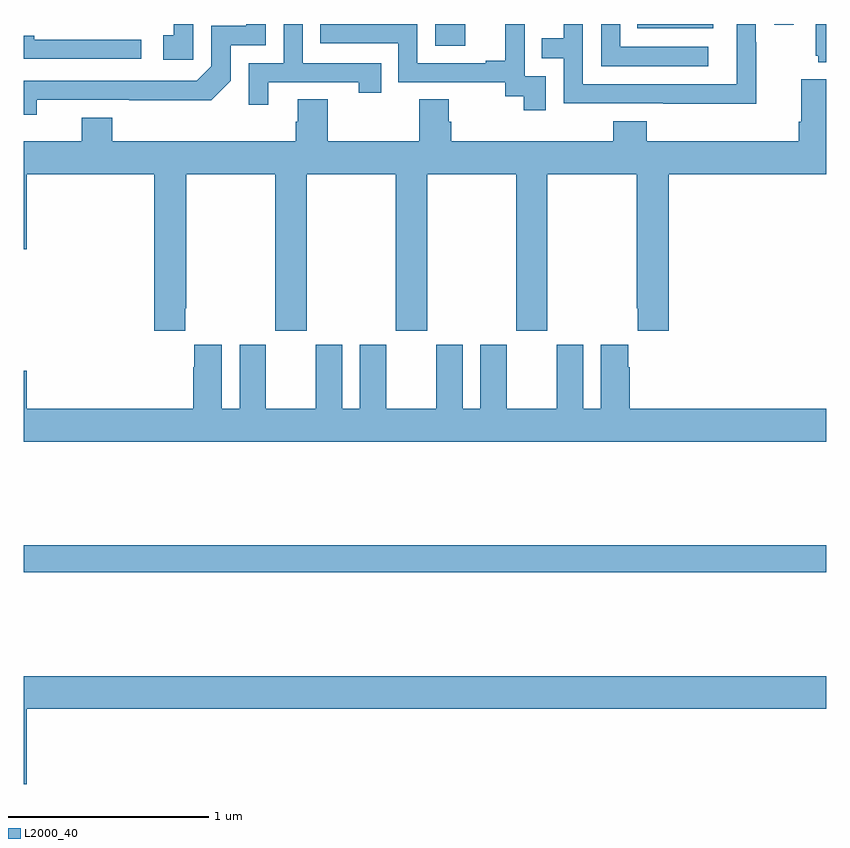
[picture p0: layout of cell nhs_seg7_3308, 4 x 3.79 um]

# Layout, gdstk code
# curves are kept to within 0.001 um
import gdstk
lib = gdstk.Library(unit=1e-6, precision=1e-09)
def R(c, l, rs):  # rectangles x0, y0, x1, y1
    for r in rs: c.add(gdstk.rectangle(r[:2], r[2:], *l))
def P(c, l, *ps):  # polygons
    for p in ps: c.add(gdstk.Polygon(p, *l))
L2000_40 = (2000, 40)

nhs_seg7_3308 = lib.new_cell('nhs_seg7_3308')
R(nhs_seg7_3308, L2000_40, [(321,1029.268,325,1029.404), (323.052,1031.892,323.2,1032), (324.058,1031.978,324.436,1032), (324.741,1031.997,324.837,1032)])
P(nhs_seg7_3308, L2000_40, [(325,1032),(324.947,1032),(324.947,1031.841),(324.959,1031.841),(324.959,1031.81),(325,1031.81)],
  [(322.219,1031.709),(322.67,1031.709),(322.67,1031.658),(322.781,1031.658),(322.781,1031.805),(322.392,1031.805),(322.392,1032),(322.296,1032),(322.296,1031.805),(322.122,1031.805),(322.122,1031.598),(322.219,1031.598)],
  [(324.412,1031.886),(323.973,1031.886),(323.973,1032),(323.877,1032),(323.877,1031.79),(324.412,1031.79)],
  [(323.601,1031.739),(323.496,1031.739),(323.496,1031.969),(323.498,1031.969),(323.498,1032),(323.399,1032),(323.399,1031.818),(323.303,1031.818),(323.303,1031.805),(322.962,1031.805),(322.962,1032),(322.477,1032),(322.477,1031.904),(322.866,1031.904),(322.866,1031.709),(323.4,1031.709),(323.4,1031.641),(323.493,1031.641),(323.493,1031.571),(323.601,1031.571)],
  [(321.066,1031.622),(321.934,1031.621),(322.032,1031.718),(322.032,1031.895),(322.206,1031.895),(322.206,1032),(322.109,1032),(322.109,1031.991),(321.936,1031.991),(321.936,1031.79),(321.864,1031.718),(321,1031.718),(321,1031.549),(321.066,1031.549)],
  [(321.846,1032),(321.749,1032),(321.749,1031.943),(321.696,1031.943),(321.696,1031.823),(321.846,1031.823)],
  [(324.651,1031.909),(324.648,1031.909),(324.648,1032),(324.552,1032),(324.552,1031.7),(323.787,1031.7),(323.787,1032),(323.691,1032),(323.691,1031.93),(323.581,1031.93),(323.581,1031.829),(323.691,1031.829),(323.691,1031.604),(324.187,1031.604),(324.187,1031.603),(324.651,1031.603)],
  [(321.586,1031.922),(321.053,1031.922),(321.053,1031.942),(321,1031.942),(321,1031.826),(321.586,1031.826)],
  [(321.29,1031.533),(321.29,1031.416),(321,1031.416),(321,1030.878),(321.016,1030.878),(321.016,1031.252),(321.65,1031.252),(321.65,1030.473),(321.805,1030.473),(321.805,1030.585),(321.81,1030.585),(321.81,1031.252),(322.255,1031.252),(322.255,1030.473),(322.41,1030.473),(322.41,1031.252),(322.855,1031.252),(322.855,1030.473),(323.01,1030.473),(323.01,1031.252),(323.455,1031.252),(323.455,1030.473),(323.61,1030.473),(323.61,1031.252),(324.055,1031.252),(324.055,1030.585),(324.059,1030.585),(324.059,1030.473),(324.215,1030.473),(324.215,1031.252),(325,1031.252),(325,1031.725),(324.875,1031.725),(324.875,1031.512),(324.863,1031.512),(324.863,1031.416),(324.104,1031.416),(324.104,1031.515),(323.939,1031.515),(323.939,1031.416),(323.132,1031.416),(323.132,1031.514),(323.119,1031.514),(323.119,1031.624),(322.972,1031.624),(322.972,1031.416),(322.515,1031.416),(322.515,1031.624),(322.367,1031.624),(322.367,1031.514),(322.355,1031.514),(322.355,1031.416),(321.443,1031.416),(321.443,1031.533)],
  [(325,1030.084),(324.02,1030.084),(324.02,1030.289),(324.013,1030.289),(324.013,1030.402),(323.876,1030.402),(323.876,1030.084),(323.788,1030.084),(323.788,1030.402),(323.657,1030.402),(323.657,1030.084),(323.407,1030.084),(323.407,1030.402),(323.276,1030.402),(323.276,1030.084),(323.188,1030.084),(323.188,1030.402),(323.057,1030.402),(323.057,1030.084),(322.807,1030.084),(322.807,1030.402),(322.676,1030.402),(322.676,1030.084),(322.588,1030.084),(322.588,1030.402),(322.457,1030.402),(322.457,1030.084),(322.207,1030.084),(322.207,1030.402),(322.076,1030.402),(322.076,1030.084),(321.988,1030.084),(321.988,1030.402),(321.851,1030.402),(321.851,1030.289),(321.845,1030.289),(321.845,1030.084),(321.016,1030.084),(321.016,1030.273),(321,1030.273),(321,1029.92),(325,1029.92)],
  [(321.016,1028.588),(325,1028.588),(325,1028.752),(321,1028.752),(321,1028.214),(321.016,1028.214)])

lib.write_gds('nhs_seg7_3308.gds')
